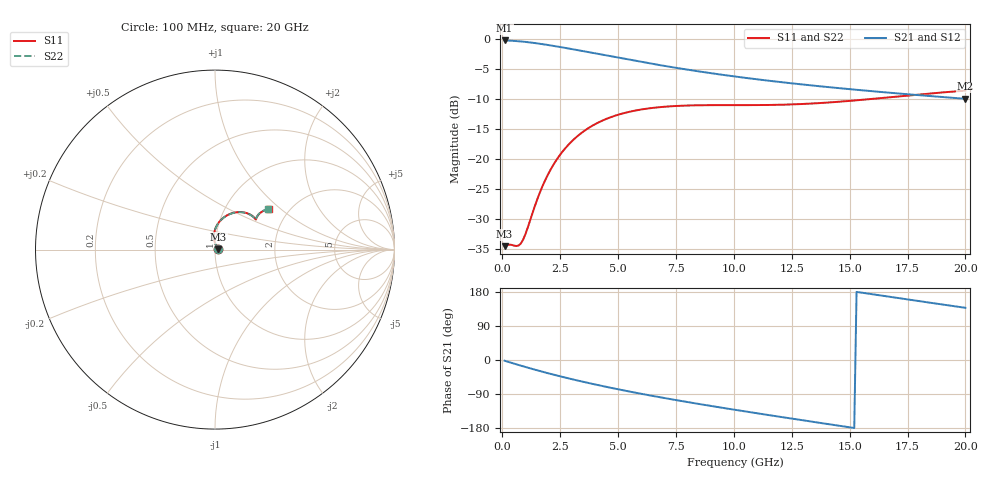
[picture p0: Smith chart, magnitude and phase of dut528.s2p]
! Touchstone file exported from HFSS 2024.1.0
!  File:  C:/UserFiles/LocalFiles/RDL_TSV_Batchsim/temp_RDL_TSV_528_1779744219.aedt
!  Generated:  05:35:51 AM May 26, 2026
!  Design:  RDL_TSV
!  Project:  temp_RDL_TSV_528_1779744219
!  Setup:  Setup1
!  Solution:  Sweep
! Variables:
!  dtsv = 10.64um
!  hbump = 3um
!  htsv = 81.06um
!  ldown = 333.37um
!  lrdl = 515.94um
!  p = 40
!  p1 = 43.42um
!  rhole = 10um
!  subl = 3063.87um
!  t = 450um
!  tdown = 4um
!  trdl = 3.84um
!  viad = 10um
!  wdown = 22.45um
!  wrdl = 13.39um
!  xbump = 18um
# GHz S MA R 50.000000
! Terminal data exported
! Port[1] = TM1_1_T1
! Port[2] = TM1_4_T1
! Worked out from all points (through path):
!   200 points, 100 MHz to 20 GHz, reference 50 ohm
!   highest |S21| = -0.17 dB at 100 MHz (marker M1); lowest = -9.9 dB at 20 GHz (marker M2)
!   group delay of S21, straight-line fit = 29.2 ps
!   lowest |S11| = -34.6 dB at 100 MHz (marker M3), VSWR 1.04, Z = 51.9 + j0.225 ohm
!   |S11| at or under -10 dB: start of sweep to 15.83 GHz
!   |S22| runs from -34.6 to -8.6 dB; largest |S21 - S12| = 2.4e-14
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0.1  0.01862 6.7  0.9811 -1.9  0.9811 -1.9  0.01862 6.7
! Gamma 0 0 0 0
! Port Impedance 50 0 50 0
0.3  0.01918 17.4  0.9778 -5.7  0.9778 -5.7  0.01918 17.4
0.6  0.01868 36.3  0.9697 -11.2  0.9697 -11.2  0.01869 36.2
0.8  0.01959 54.6  0.9625 -14.9  0.9625 -14.9  0.0196 54.5
1  0.0235 72.4  0.954 -18.4  0.954 -18.4  0.02349 72.3
1.6  0.05103 94.4  0.9221 -28.8  0.9221 -28.8  0.05094 94.4
1.8  0.06311 95.2  0.91 -32.1  0.91 -32.1  0.06299 95.2
2.1  0.08233 94.1  0.8909 -36.9  0.8909 -36.9  0.08217 94.0
2.7  0.1216 88.2  0.8513 -46.1  0.8513 -46.1  0.1214 88.1
3.5  0.1696 78.4  0.798 -57.6  0.798 -57.6  0.1692 78.4
4.2  0.2042 70.2  0.7529 -67.1  0.7529 -67.1  0.2037 70.1
4.9  0.2311 62.8  0.7103 -76.0  0.7103 -76.0  0.2305 62.8
5.8  0.2554 54.9  0.6598 -86.9  0.6598 -86.9  0.2547 54.9
6.8  0.2714 48.0  0.61 -98.2  0.61 -98.2  0.2706 48.0
8.4  0.2812 40.6  0.5436 -115.1  0.5436 -115.1  0.2804 40.6
10.1  0.2821 36.9  0.4882 -132.0  0.4882 -132.0  0.2812 37.0
11.7  0.2834 36.3  0.447 -147.2  0.447 -147.2  0.2825 36.4
13.4  0.2912 37.4  0.4115 -163.0  0.4115 -163.0  0.2904 37.5
15  0.3061 38.6  0.3838 -177.6  0.3838 -177.6  0.3054 38.7
16.7  0.3279 39.0  0.3586 167.0  0.3586 167.0  0.3275 39.2
18.4  0.352 38.4  0.3369 151.8  0.3369 151.8  0.3517 38.5
20  0.3731 36.9  0.319 137.7  0.319 137.7  0.373 37.1
